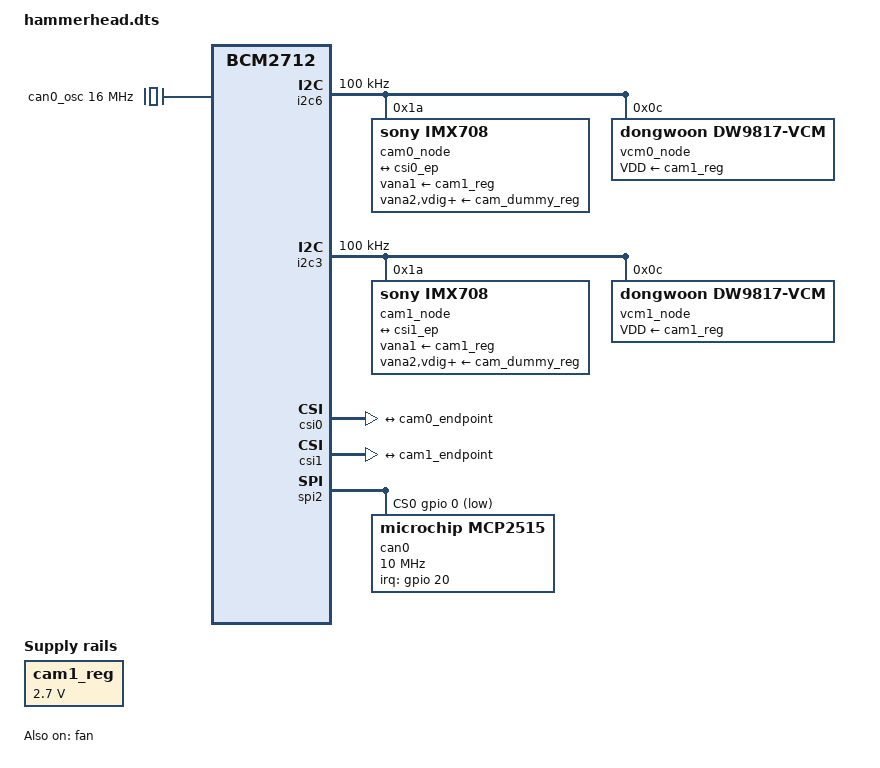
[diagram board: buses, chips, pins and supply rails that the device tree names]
// SPDX-License-Identifier: GPL-2.0
/dts-v1/;

#include "bcm2712-rpi-cm5.dtsi"
#include "bcm2712-rpi-cm5io.dtsi"

&cma {
	size = <0x20000000>; /* 512MB */
};

&cam0_clk {
	status = "okay";
	clock-frequency = <24000000>;
};

&cam1_clk {
	status = "okay";
	clock-frequency = <24000000>;
};

// both cameras share the same cam gpio lines
&cam1_reg {
	startup-delay-us = <70000>;
	off-on-delay-us = <30000>;
	regulator-min-microvolt = <2700000>;
	regulator-max-microvolt = <2700000>;
};

&i2c6 {
	#address-cells = <1>;
	#size-cells = <0>;
	status = "okay";

    pinctrl-names = "default";
    pinctrl-0 = <&rp1_i2c6_38_39>;
	clock-frequency = <100000>;

	cam0_node: imx708@1a {
		compatible = "sony,imx708";
		reg = <0x1a>;
		status = "okay";

		clocks = <&cam0_clk>;
		clock-names = "inclk";

		vana1-supply = <&cam1_reg>;	/* 2.8v */
		vana2-supply = <&cam_dummy_reg>;/* 1.8v */
		vdig-supply = <&cam_dummy_reg>;	/* 1.1v */
		vddl-supply = <&cam_dummy_reg>;	/* 1.8v */

		rotation = <180>;
		orientation = <2>;
		lens-focus = <&vcm0_node>;

		port {
			cam0_endpoint: endpoint {
				clock-lanes = <0>;
				data-lanes = <1 2>;
				clock-noncontinuous;
				remote-endpoint = <&csi0_ep>;
				link-frequencies =
					/bits/ 64 <450000000>;
			};
		};
	};

	vcm0_node: dw9817@c {
		compatible = "dongwoon,dw9817-vcm";
		reg = <0x0c>;
		status = "okay";
		VDD-supply = <&cam1_reg>;
	};
};

&i2c3 {
	#address-cells = <1>;
	#size-cells = <0>;
	status = "okay";

    pinctrl-names = "default";
    pinctrl-0 = <&rp1_i2c3_22_23>;
	clock-frequency = <100000>;

	cam1_node: imx708@1a {
		compatible = "sony,imx708";
		reg = <0x1a>;
		status = "okay";

		clocks = <&cam1_clk>;
		clock-names = "inclk";

		vana1-supply = <&cam1_reg>;	/* 2.8v */
		vana2-supply = <&cam_dummy_reg>;/* 1.8v */
		vdig-supply = <&cam_dummy_reg>;	/* 1.1v */
		vddl-supply = <&cam_dummy_reg>;	/* 1.8v */

		rotation = <180>;
		orientation = <2>;
		lens-focus = <&vcm1_node>;

		port {
			cam1_endpoint: endpoint {
				clock-lanes = <0>;
				data-lanes = <1 2>;
				clock-noncontinuous;
				remote-endpoint = <&csi1_ep>;
				link-frequencies =
					/bits/ 64 <450000000>;
			};
		};
	};

	vcm1_node: dw9817@c {
		compatible = "dongwoon,dw9817-vcm";
		reg = <0x0c>;
		status = "okay";
		VDD-supply = <&cam1_reg>;
	};
};

&csi0 {
	status = "okay";
	brcm,media-controller;

	port {
		csi0_ep: endpoint {
			remote-endpoint = <&cam0_endpoint>;
			clock-lanes = <0>;
			data-lanes = <1 2>;
			clock-noncontinuous;
		};
	};
};

&csi1 {
	status = "okay";
	brcm,media-controller;

	port {
		csi1_ep: endpoint {
			remote-endpoint = <&cam1_endpoint>;
			clock-lanes = <0>;
			data-lanes = <1 2>;
			clock-noncontinuous;
		};
	};
};

// can controller interrupt pin
&gpio {
    can0_pins: can0_pins {
        brcm,pins = <20>;
        brcm,function = <0>;
    };
};

// can controller clock source
&{/} {
    can0_osc: can0_osc {
        compatible = "fixed-clock";
        #clock-cells = <0>;
        clock-frequency = <16000000>;
    };
};

// can controller
&spi2 {
	status = "okay";
	#address-cells = <1>;
	#size-cells = <0>;
	cs-gpios = <&gpio 0 1>;

    #address-cells = <1>;
    #size-cells = <0>;
    can0: mcp2515@0 {
        reg = <0>;
        compatible = "microchip,mcp2515";
        pinctrl-names = "default";
        pinctrl-0 = <&can0_pins>;
        spi-max-frequency = <10000000>;
        interrupt-parent = <&gpio>;
        interrupts = <20 8>;
        clocks = <&can0_osc>;
    };
};

// enable cooling fan
&fan {
    status = "okay";
};

// disable bluetooth
&bluetooth {
    status = "disabled";
};

// gpio line name table
&rp1_gpio {
	gpio-line-names =
		"CAN_SPI_CS", // GPIO_000
		"CAN_SPI_MISO", // GPIO_001
		"CAN_SPI_MOSI", // GPIO_002
		"CAN_SPI_SCK", // GPIO_003
		"SIM_UART_TX", // GPIO_004
		"SIM_UART_RX", // GPIO_005
		"SIM_UART_CTS", // GPIO_006
		"SIM_UART_RTS", // GPIO_007
		"SIM_I2C_SDA", // GPIO_008
		"SIM_I2C_SCL", // GPIO_009
		"LASER1", // GPIO_010
		"SIM_UART_DTR", // GPIO_011
		"W_LED_DIM", // GPIO_012
		"IR_LED_DIM", // GPIO_013
		"DEBUG_UART_TX", // GPIO_014
		"DEBUG_UART_RX", // GPIO_015
		"SIM_PWR_OFF", // GPIO_016
		"SIM_RESET", // GPIO_017
		"PCM_CLK", // GPIO_018
		"PCM_FS", // GPIO_019
		"CAN_INT", // GPIO_020
		"PCM_DOUT", // GPIO_021
		"I2C_SDA_CAM2", // GPIO_022
		"I2C_SCL_CAM2", // GPIO_023
		"LASER2", // GPIO_024
		"TEST_GPIO_1", // GPIO_025
		"CAN_FAULT", // GPIO_026
		"TEST_GPIO_2", // GPIO_027

		"PCIE_PWR_EN", // GPIO28
		"FAN_TACH", // GPIO29
		"HOST_SDA", // GPIO30
		"HOST_SCL", // GPIO31
		"ETH_RST_N", // GPIO32
		"PCIE_DET_WAKE", // GPIO33

		"CD0_IO0_MICCLK", // GPIO34
		"CD0_IO0_MICDAT0", // GPIO35
		"RP1_PCIE_CLKREQ_N", // GPIO36
		"ETH_IRQ_N", // GPIO37
		"SDA0", // GPIO38
		"SCL0", // GPIO39
		"-", // GPIO40
		"-", // GPIO41
		"USB_VBUS_EN", // GPIO42
		"-", // GPIO43
		"RP1_STAT_LED", // GPIO44
		"FAN_PWM", // GPIO45
		"-", // GPIO46
		"2712_WAKE", // GPIO47
		"-", // GPIO48
		"-", // GPIO49
		"-", // GPIO50
		"-", // GPIO51
		"-", // GPIO52
		"-"; // GPIO53
};
